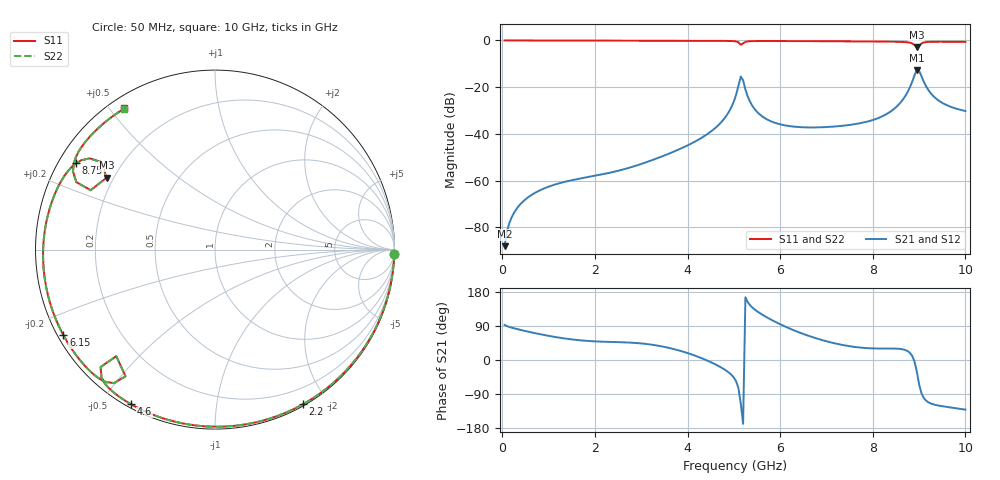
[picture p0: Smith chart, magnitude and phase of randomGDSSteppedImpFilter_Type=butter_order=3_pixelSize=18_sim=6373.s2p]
! freq	dB(S11)	phase(S11)	dB(S12)	phase(S12)
!  dB(S21)	phase(S21)	dB(S22)	phase(S22)
!S-par simulation data
#  GHz  S  DB  R 50
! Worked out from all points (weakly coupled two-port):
!   200 points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, 50 MHz to 10 GHz, reference 50 ohm
!   highest |S21| = -12.72 dB at 8.95 GHz (marker M1); lowest = -88.1 dB at 50 MHz (marker M2)
!   lowest |S11| = -2.8 dB at 8.95 GHz (marker M3), VSWR 6.26, Z = 8.7 + j14.7 ohm
!   |S11| at or under -10 dB: nowhere
!   |S22| runs from -2.8 to 0.0 dB; largest |S21 - S12| = 0
!   S11 on the Smith chart (normalised r, x): 50 MHz: 1, -83; 2.2 GHz: 0.02, -1.72; 4.6 GHz: 0.01, -0.59; 6.15 GHz: 0.02, -0.26; 8.75 GHz: 0.05, +0.28; 10 GHz: 0.04, +0.55
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0.05  -0.00 -1.4  -88.10 92.5  -88.10 92.5  -0.00 -1.4
0.35  -0.02 -9.9  -71.04 80.7  -71.04 80.7  -0.02 -9.9
0.65  -0.02 -18.3  -65.92 72.3  -65.92 72.3  -0.02 -18.3
1.75  -0.06 -48.5  -58.87 51.2  -58.87 51.2  -0.06 -48.5
2.2  -0.08 -60.3  -57.17 48.1  -57.17 48.1  -0.08 -60.3
3.4  -0.12 -90.3  -50.04 37.0  -50.04 37.0  -0.12 -90.2
4.6  -0.17 -118.5  -37.49 -11.4  -37.49 -11.4  -0.17 -118.5
4.85  -0.21 -124.8  -31.92 -29.3  -31.92 -29.3  -0.21 -124.7
5.05  -0.42 -131.6  -23.18 -56.4  -23.18 -56.4  -0.42 -131.6
5.15  -1.84 -132.8  -15.45 -115.4  -15.45 -115.4  -1.83 -132.8
5.25  -0.60 -127.1  -20.99 165.5  -20.99 165.5  -0.60 -127.1
5.5  -0.26 -135.6  -30.55 128.7  -30.55 128.7  -0.26 -135.6
6.15  -0.26 -150.6  -36.54 85.9  -36.54 85.9  -0.26 -150.5
6.7  -0.30 -162.5  -37.26 60.2  -37.26 60.2  -0.30 -162.5
7.7  -0.40 175.5  -35.55 33.1  -35.55 33.1  -0.40 175.5
8.35  -0.50 160.0  -30.89 30.3  -30.89 30.3  -0.50 160.1
8.75  -0.80 148.2  -22.19 23.7  -22.19 23.7  -0.80 148.3
8.95  -2.80 146.4  -12.72 -30.2  -12.72 -30.2  -2.79 146.5
9  -2.30 154.5  -12.95 -63.8  -12.95 -63.8  -2.29 154.5
9.1  -0.89 151.2  -17.59 -99.9  -17.59 -99.9  -0.88 151.2
9.35  -0.55 141.0  -24.61 -118.4  -24.61 -118.4  -0.55 141.1
10  -0.59 122.7  -30.22 -131.0  -30.22 -131.0  -0.59 122.8
